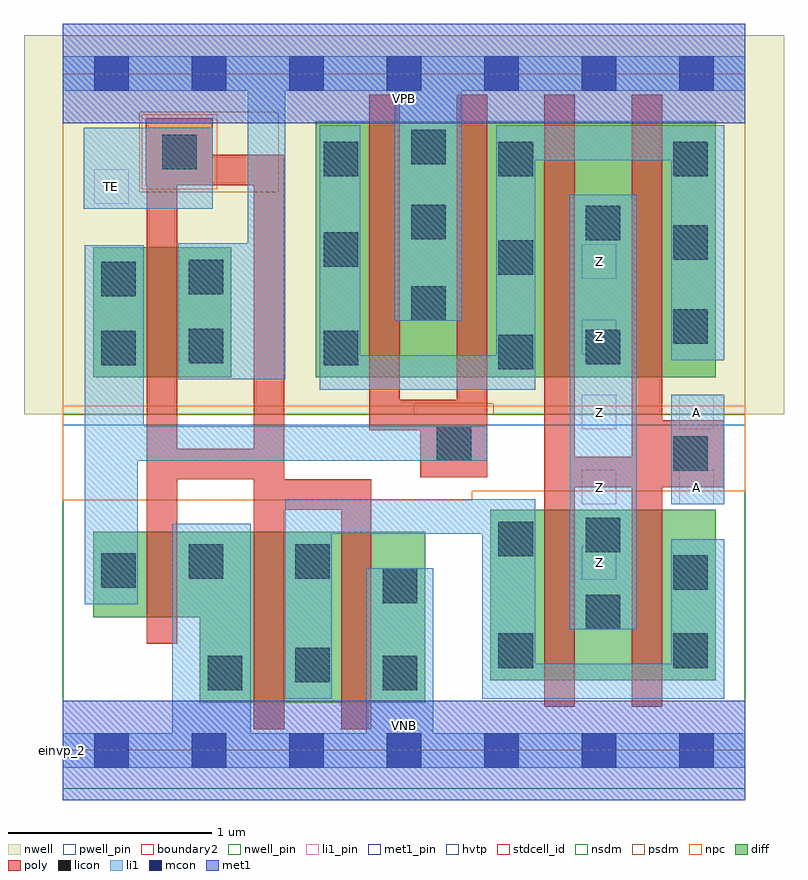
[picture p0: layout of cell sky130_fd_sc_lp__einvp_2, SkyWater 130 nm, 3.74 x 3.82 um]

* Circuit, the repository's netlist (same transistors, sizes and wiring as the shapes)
* Copyright 2020 The SkyWater PDK Authors
*
* Licensed under the Apache License, Version 2.0 (the "License");
* you may not use this file except in compliance with the License.
* You may obtain a copy of the License at
*
*     https://www.apache.org/licenses/LICENSE-2.0
*
* Unless required by applicable law or agreed to in writing, software
* distributed under the License is distributed on an "AS IS" BASIS,
* WITHOUT WARRANTIES OR CONDITIONS OF ANY KIND, either express or implied.
* See the License for the specific language governing permissions and
* limitations under the License.
*
* SPDX-License-Identifier: Apache-2.0

.SUBCKT sky130_fd_sc_lp__einvp_2 A TE VGND VNB VPB VPWR Z
*.PININFO A:I TE:I VGND:I VNB:I VPB:I VPWR:I Z:O
MMN0 Z A sndA VNB sky130_fd_pr__nfet_01v8 m=2 w=0.84U l=0.15U mult=1 sa=0.265 sb=0.265
+ sd=0.28 area=0.063 perim=1.14
MMN1 sndA TE VGND VNB sky130_fd_pr__nfet_01v8 m=2 w=0.84U l=0.15U mult=1 sa=0.265
+ sb=0.265 sd=0.28 area=0.063 perim=1.14
MMIN1 TEB TE VGND VNB sky130_fd_pr__nfet_01v8 m=1 w=0.42U l=0.15U mult=1 sa=0.265
+ sb=0.265 sd=0.28 area=0.063 perim=1.14
MMP0 VPWR TEB sndTEB VPB sky130_fd_pr__pfet_01v8_hvt m=2 w=1.26U l=0.15U mult=1
+ sa=0.265 sb=0.265 sd=0.28 area=0.063 perim=1.14
MMP1 sndTEB A Z VPB sky130_fd_pr__pfet_01v8_hvt m=2 w=1.26U l=0.15U mult=1 sa=0.265
+ sb=0.265 sd=0.28 area=0.063 perim=1.14
MMIP1 TEB TE VPWR VPB sky130_fd_pr__pfet_01v8_hvt m=1 w=0.64U l=0.15U mult=1 sa=0.265
+ sb=0.265 sd=0.28 area=0.063 perim=1.14
.ENDS sky130_fd_sc_lp__einvp_2

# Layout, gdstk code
import gdstk
lib = gdstk.Library(unit=1e-6, precision=1e-09)
def R(c, l, rs):  # rectangles x0, y0, x1, y1
    for r in rs: c.add(gdstk.rectangle(r[:2], r[2:], *l))
def A(c, l, x, y, w, h, nx, ny, dx, dy):  # array of equal rectangles
    R(c, l, [(x+i*dx, y+j*dy, x+i*dx+w, y+j*dy+h) for i in range(nx) for j in range(ny)])
def P(c, l, *ps):  # polygons
    for p in ps: c.add(gdstk.Polygon(p, *l))
nwell_pin = (64, 16)
nwell = (64, 20)
diff = (65, 20)
poly = (66, 20)
licon = (66, 44)
li1_pin = (67, 16)
li1 = (67, 20)
mcon = (67, 44)
met1_pin = (68, 16)
met1 = (68, 20)
hvtp = (78, 44)
stdcell_id = (81, 4)
nsdm = (93, 44)
psdm = (94, 20)
npc = (95, 20)
pwell_pin = (122, 16)
boundary2 = (236, 0)

sky130_fd_sc_lp__einvp_2 = lib.new_cell('sky130_fd_sc_lp__einvp_2')
R(sky130_fd_sc_lp__einvp_2, nwell_pin, [(0,3.085,3.36,3.33)])
R(sky130_fd_sc_lp__einvp_2, nwell, [(-0.19,1.655,3.55,3.52)])
R(sky130_fd_sc_lp__einvp_2, diff, [(2.105,0.345,3.215,1.185), (0.15,1.835,0.83,2.475), (1.245,1.835,3.215,3.095)])
P(sky130_fd_sc_lp__einvp_2, diff, [(1.785,1.075),(0.15,1.075),(0.15,0.655),(0.675,0.655),(0.675,0.235),(1.785,0.235)])
R(sky130_fd_sc_lp__einvp_2, poly, [(0.41,2.78,0.74,3.11)])
P(sky130_fd_sc_lp__einvp_2, poly, [(1.52,1.335),(1.09,1.335),(1.09,2.93),(0.94,2.93),(0.94,1.485),(0.565,1.485),(0.565,2.78),(0.94,2.78),(0.94,2.93),(0.55,2.93),(0.55,2.78),(0.415,2.78),(0.415,0.525),(0.565,0.525),(0.565,1.335),(0.94,1.335),(0.94,0.105),(1.09,0.105),(1.09,1.185),(1.37,1.185),(1.37,0.105),(1.52,0.105)],
  [(2.09,3.225),(1.94,3.225),(1.94,1.725),(1.66,1.725),(1.66,3.225),(1.51,3.225),(1.51,1.575),(1.76,1.575),(1.76,1.345),(2.09,1.345)],
  [(3.255,1.625),(2.95,1.625),(2.95,3.225),(2.8,3.225),(2.8,1.445),(2.52,1.445),(2.52,3.225),(2.37,3.225),(2.37,0.215),(2.52,0.215),(2.52,1.295),(2.8,1.295),(2.8,0.215),(2.95,0.215),(2.95,1.295),(3.255,1.295)])
A(sky130_fd_sc_lp__einvp_2, licon, 1.285, 2.825, 0.17, 0.17, 3, 1, 0.86, 0)
R(sky130_fd_sc_lp__einvp_2, licon, [(0.715,0.295,0.885,0.465), (1.575,0.295,1.745,0.465), (1.145,0.335,1.315,0.505), (2.145,0.405,2.315,0.575), (3.005,0.405,3.175,0.575), (2.575,0.595,2.745,0.765), (1.575,0.725,1.745,0.895), (3.005,0.79,3.175,0.96), (0.19,0.8,0.36,0.97), (0.62,0.845,0.79,1.015), (1.145,0.845,1.315,1.015), (2.145,0.955,2.315,1.125), (2.575,0.975,2.745,1.145), (3.005,1.375,3.175,1.545), (1.84,1.425,2.01,1.595), (2.145,1.875,2.315,2.045), (0.19,1.895,0.36,2.065), (1.285,1.895,1.455,2.065), (2.575,1.9,2.745,2.07), (0.62,1.905,0.79,2.075), (3.005,2,3.175,2.17), (1.715,2.115,1.885,2.285), (0.19,2.235,0.36,2.405), (0.62,2.245,0.79,2.415), (2.145,2.34,2.315,2.51), (1.285,2.38,1.455,2.55), (3.005,2.415,3.175,2.585), (2.575,2.51,2.745,2.68), (1.715,2.515,1.885,2.685), (0.49,2.86,0.66,3.03), (1.715,2.885,1.885,3.055)])
A(sky130_fd_sc_lp__einvp_2, li1_pin, 2.555, 0.84, 0.17, 0.17, 1, 5, 0, 0.37)
R(sky130_fd_sc_lp__einvp_2, li1_pin, [(3.035,1.21,3.205,1.38), (3.035,1.58,3.205,1.75), (0.155,2.69,0.325,2.86)])
R(sky130_fd_sc_lp__einvp_2, li1, [(2.495,0.595,2.825,2.735), (2.995,1.21,3.255,1.75), (0.105,2.665,0.74,3.065)])
P(sky130_fd_sc_lp__einvp_2, li1, [(1.635,2.115),(1.635,3.245),(1.095,3.245),(1.095,1.825),(0.57,1.825),(0.57,2.495),(0.91,2.495),(0.91,3.245),(0,3.245),(0,3.415),(3.36,3.415),(3.36,3.245),(1.965,3.245),(1.965,2.115)],
  [(1.495,0.085),(1.495,0.895),(1.825,0.895),(1.825,0.085),(3.36,0.085),(3.36,-0.085),(0,-0.085),(0,0.085),(0.54,0.085),(0.54,1.115),(0.925,1.115),(0.925,0.085)],
  [(2.995,2.905),(2.325,2.905),(2.325,1.775),(1.265,1.775),(1.265,3.075),(1.465,3.075),(1.465,1.945),(2.135,1.945),(2.135,3.075),(3.255,3.075),(3.255,1.92),(2.995,1.92)],
  [(0.4,1.595),(2.09,1.595),(2.09,1.425),(0.37,1.425),(0.37,0.72),(0.11,0.72),(0.11,2.485),(0.4,2.485)],
  [(2.325,0.425),(2.995,0.425),(2.995,1.04),(3.255,1.04),(3.255,0.255),(2.065,0.255),(2.065,1.065),(1.325,1.065),(1.325,0.255),(1.095,0.255),(1.095,1.235),(2.325,1.235)])
A(sky130_fd_sc_lp__einvp_2, mcon, 0.155, -0.085, 0.17, 0.17, 7, 2, 0.48, 3.33)
R(sky130_fd_sc_lp__einvp_2, met1_pin, [(0,0,3.36,0.245), (0,3.085,3.36,3.33)])
R(sky130_fd_sc_lp__einvp_2, met1, [(0,-0.245,3.36,0.245), (0,3.085,3.36,3.575)])
R(sky130_fd_sc_lp__einvp_2, hvtp, [(0,1.6,3.36,3.33)])
R(sky130_fd_sc_lp__einvp_2, stdcell_id, [(0,0,3.36,3.33)])
R(sky130_fd_sc_lp__einvp_2, nsdm, [(0,-0.19,3.36,1.655)])
P(sky130_fd_sc_lp__einvp_2, psdm, [(3.36,3.52),(0,3.52),(0,2.75),(0.38,2.75),(0.38,3.14),(1.06,3.14),(1.06,2.75),(0,2.75),(0,1.655),(1.73,1.655),(1.73,1.705),(2.12,1.705),(2.12,1.655),(3.36,1.655)])
R(sky130_fd_sc_lp__einvp_2, npc, [(0.39,2.76,0.76,3.13)])
P(sky130_fd_sc_lp__einvp_2, npc, [(3.36,1.695),(0,1.695),(0,1.23),(2.015,1.23),(2.015,1.275),(3.36,1.275)])
R(sky130_fd_sc_lp__einvp_2, pwell_pin, [(0,0,3.36,0.245)])
R(sky130_fd_sc_lp__einvp_2, boundary2, [(0,0,3.36,3.33)])
sky130_fd_sc_lp__einvp_2.add(gdstk.Label('VNB', (1.68,0.123), layer=64, texttype=59))
sky130_fd_sc_lp__einvp_2.add(gdstk.Label('VPB', (1.68,3.208), layer=64, texttype=5))
sky130_fd_sc_lp__einvp_2.add(gdstk.Label('einvp_2', (0,0), layer=83, texttype=44))
sky130_fd_sc_lp__einvp_2.add(gdstk.Label('VPWR', (1.68,3.208), layer=68, texttype=5))
sky130_fd_sc_lp__einvp_2.add(gdstk.Label('VGND', (1.68,0.123), layer=68, texttype=5))
sky130_fd_sc_lp__einvp_2.add(gdstk.Label('Z', (2.64,0.925), layer=67, texttype=5))
sky130_fd_sc_lp__einvp_2.add(gdstk.Label('Z', (2.64,1.295), layer=67, texttype=5))
sky130_fd_sc_lp__einvp_2.add(gdstk.Label('Z', (2.64,1.665), layer=67, texttype=5))
sky130_fd_sc_lp__einvp_2.add(gdstk.Label('Z', (2.64,2.035), layer=67, texttype=5))
sky130_fd_sc_lp__einvp_2.add(gdstk.Label('Z', (2.64,2.405), layer=67, texttype=5))
sky130_fd_sc_lp__einvp_2.add(gdstk.Label('A', (3.12,1.295), layer=67, texttype=5))
sky130_fd_sc_lp__einvp_2.add(gdstk.Label('A', (3.12,1.665), layer=67, texttype=5))
sky130_fd_sc_lp__einvp_2.add(gdstk.Label('TE', (0.24,2.775), layer=67, texttype=5))

lib.write_gds('sky130_fd_sc_lp__einvp_2.gds')
